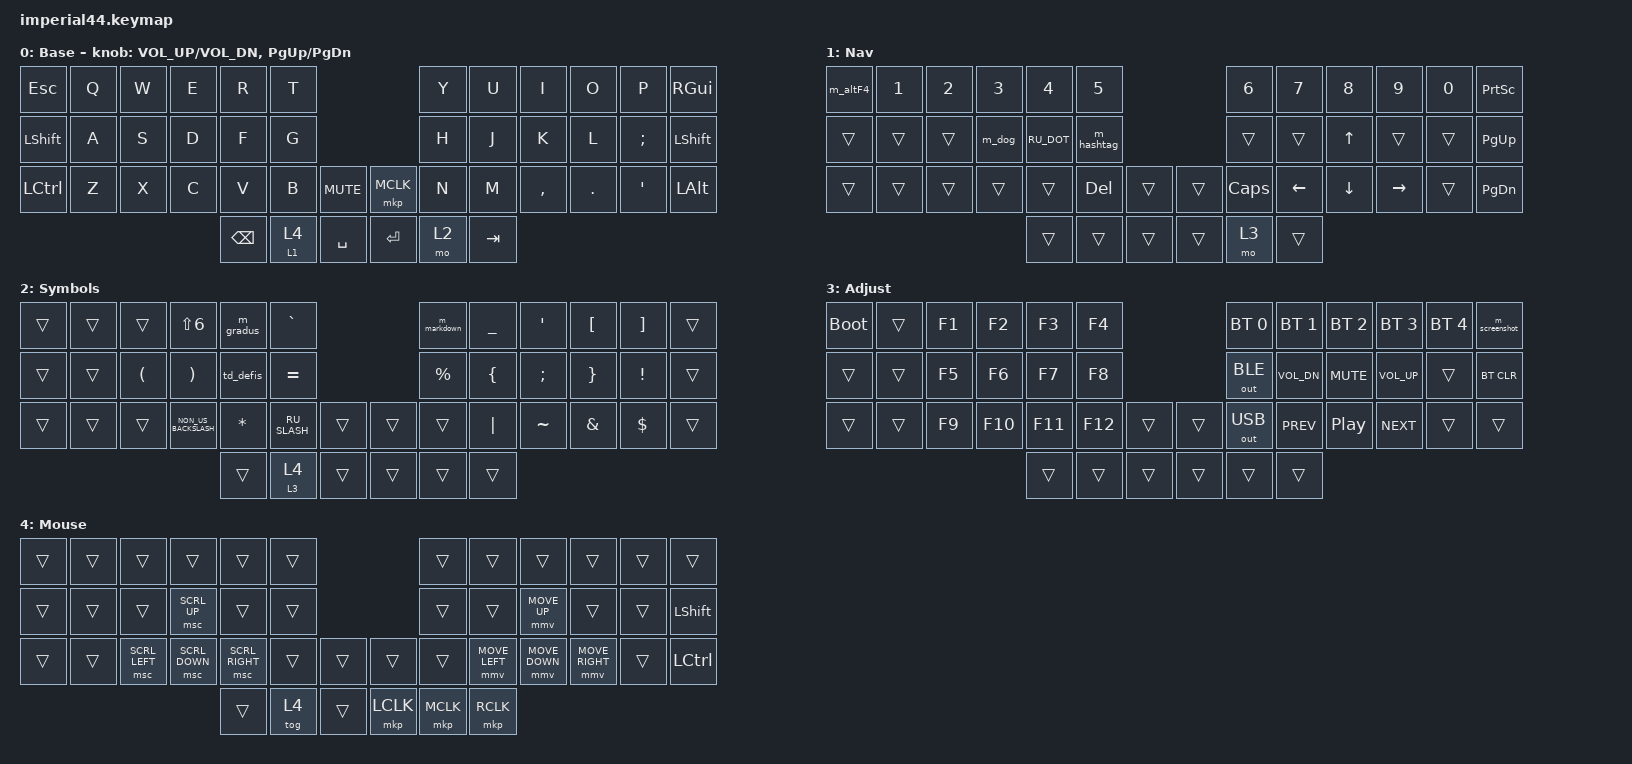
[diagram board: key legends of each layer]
#include "keys_ru.h"
#include <behaviors.dtsi>
#include <dt-bindings/zmk/bt.h>
#include <dt-bindings/zmk/keys.h>
#include <dt-bindings/zmk/outputs.h>
#include <dt-bindings/zmk/pointing.h>

&mmv { acceleration-exponent = <2>; };

/ {
    macros {
        m_altF4: m0 {
            compatible = "zmk,behavior-macro";
            #binding-cells = <0>;
            bindings = <&kp LA(F4)>;
            label = "M0";
        };

        m_screenshot: m2 {
            compatible = "zmk,behavior-macro";
            #binding-cells = <0>;
            bindings = <&kp LG(LS(S))>;
            label = "M2";
        };

        m_gradus: m3 {
            compatible = "zmk,behavior-macro";
            #binding-cells = <0>;
            bindings =
                <&macro_press>,
                <&kp LEFT_ALT &kp KP_NUMBER_0 &kp KP_NUMBER_1 &kp KP_NUMBER_7 &kp KP_NUMBER_6>,
                <&macro_wait_time 20>,
                <&macro_release>,
                <&kp LEFT_ALT &kp KP_NUMBER_0 &kp KP_NUMBER_1 &kp KP_NUMBER_7 &kp KP_NUMBER_6>,
                <&macro_wait_time 20>;

            label = "M3";
        };

        m_markdown: m4 {
            compatible = "zmk,behavior-macro";
            #binding-cells = <0>;
            bindings =
                <&kp GRAVE &kp GRAVE &kp GRAVE>,
                <&macro_wait_time 20>,
                <&kp LS(ENTER) &kp LS(ENTER)>,
                <&macro_wait_time 20>,
                <&kp GRAVE &kp GRAVE &kp GRAVE>,
                <&macro_wait_time 20>,
                <&kp UP>;

            label = "M4";
        };

        m_defis: m_defis {
            compatible = "zmk,behavior-macro";
            #binding-cells = <0>;
            bindings =
                <&macro_press>,
                <&kp LEFT_ALT &kp KP_NUMBER_0 &kp KP_NUMBER_1 &kp KP_NUMBER_5 &kp KP_NUMBER_1>,
                <&macro_wait_time 20>,
                <&macro_release>,
                <&kp LEFT_ALT &kp KP_NUMBER_0 &kp KP_NUMBER_1 &kp KP_NUMBER_5 &kp KP_NUMBER_1>,
                <&macro_wait_time 20>;

            label = "M_DEFIS";
        };

        m_dog: m_dog {
            compatible = "zmk,behavior-macro";
            #binding-cells = <0>;
            bindings =
                <&kp LG(SPACE)>,
                <&macro_wait_time 20>,
                <&kp LS(NUMBER_2)>,
                <&macro_wait_time 20>,
                <&kp LG(SPACE)>,
                <&macro_wait_time 20>;

            label = "M_DOG";
        };

        m_hashtag: m_hashteg {
            compatible = "zmk,behavior-macro";
            #binding-cells = <0>;
            bindings =
                <&kp LG(SPACE)>,
                <&macro_wait_time 20>,
                <&kp LS(NUMBER_3)>,
                <&macro_wait_time 20>,
                <&kp LG(SPACE)>,
                <&macro_wait_time 20>;

            label = "M_HASHTEG";
        };
    };

    behaviors {
        td_defis: td_defis {
            compatible = "zmk,behavior-tap-dance";
            label = "TD_DEFIS";
            #binding-cells = <0>;
            bindings = <&kp MINUS>, <&m_defis>;
        };

        LTD: LTD {
            compatible = "zmk,behavior-hold-tap";
            label = "LTD";
            bindings = <&mo>, <&tog>;

            #binding-cells = <2>;
            tapping-term-ms = <150>;
        };
    };

    combos {
        compatible = "zmk,combos";

        layer4tog {
            bindings = <&tog 4>;
            key-positions = <39 24>;
            layers = <0 4>;
        };
    };

    keymap {
        compatible = "zmk,keymap";

        base {
            bindings = <
&kp ESC         &kp Q  &kp W  &kp E  &kp R     &kp T                              &kp Y  &kp U    &kp I      &kp O    &kp P     &kp RIGHT_GUI
&kp LEFT_SHIFT  &kp A  &kp S  &kp D  &kp F     &kp G                              &kp H  &kp J    &kp K      &kp L    &kp SEMI  &kp LEFT_SHIFT
&kp LCTRL       &kp Z  &kp X  &kp C  &kp V     &kp B     &kp C_MUTE    &mkp MCLK  &kp N  &kp M    &kp COMMA  &kp DOT  &kp SQT   &kp LEFT_ALT
                                     &kp BSPC  &LTD 1 4  &kp SPACE     &kp ENTER  &mo 2  &kp TAB
            >;

            display-name = "Base";
            sensor-bindings =
                <&inc_dec_kp C_VOL_UP C_VOL_DN>,
                <&inc_dec_kp PAGE_UP PAGE_DOWN>;
        };

        nav {
            bindings = <
&m_altF4  &kp N1  &kp N2  &kp N3  &kp N4      &kp N5                        &kp N6        &kp N7    &kp N8          &kp N9           &kp N0  &kp PRINTSCREEN
&trans    &trans  &trans  &m_dog  &kp RU_DOT  &m_hashtag                    &trans        &trans    &kp UP          &trans           &trans  &kp PAGE_UP
&trans    &trans  &trans  &trans  &trans      &kp DEL     &trans    &trans  &kp CAPSLOCK  &kp LEFT  &kp DOWN_ARROW  &kp RIGHT_ARROW  &trans  &kp PG_DN
                                  &trans      &trans      &trans    &trans  &mo 3         &trans
            >;

            display-name = "Nav";
        };

        sym {
            bindings = <
&trans  &trans  &trans    &kp LS(N6)             &m_gradus  &kp GRAVE                       &m_markdown  &kp UNDER  &kp SQT    &kp LBKT  &kp RBKT  &trans
&trans  &trans  &kp LPAR  &kp RIGHT_PARENTHESIS  &td_defis  &kp EQUAL                       &kp PRCNT    &kp LBRC   &kp SEMI   &kp RBRC  &kp EXCL  &trans
&trans  &trans  &trans    &kp NON_US_BACKSLASH   &kp ASTRK  &kp RU_SLASH  &trans    &trans  &trans       &kp PIPE   &kp TILDE  &kp AMPS  &kp DLLR  &trans
                                                 &trans     &LTD 3 4      &trans    &trans  &trans       &trans
            >;

            display-name = "Symbols";
        };

        adj {
            bindings = <
&bootloader  &trans  &kp F1  &kp F2   &kp F3   &kp F4                     &bt BT_SEL 0  &bt BT_SEL 1  &bt BT_SEL 2      &bt BT_SEL 3  &bt BT_SEL 4  &m_screenshot
&trans       &trans  &kp F5  &kp F6   &kp F7   &kp F8                     &out OUT_BLE  &kp C_VOL_DN  &kp C_MUTE        &kp C_VOL_UP  &trans        &bt BT_CLR
&trans       &trans  &kp F9  &kp F10  &kp F11  &kp F12  &trans    &trans  &out OUT_USB  &kp C_PREV    &kp C_PLAY_PAUSE  &kp C_NEXT    &trans        &trans
                                      &trans   &trans   &trans    &trans  &trans        &trans
            >;

            display-name = "Adjust";
        };

        Mouse {
            bindings = <
&trans  &trans  &trans          &trans          &trans           &trans                       &trans     &trans          &trans          &trans           &trans  &trans
&trans  &trans  &trans          &msc SCRL_UP    &trans           &trans                       &trans     &trans          &mmv MOVE_UP    &trans           &trans  &kp LEFT_SHIFT
&trans  &trans  &msc SCRL_LEFT  &msc SCRL_DOWN  &msc SCRL_RIGHT  &trans  &trans    &trans     &trans     &mmv MOVE_LEFT  &mmv MOVE_DOWN  &mmv MOVE_RIGHT  &trans  &kp LCTRL
                                                &trans           &tog 4  &trans    &mkp LCLK  &mkp MCLK  &mkp RCLK
            >;
        };
    };
};
